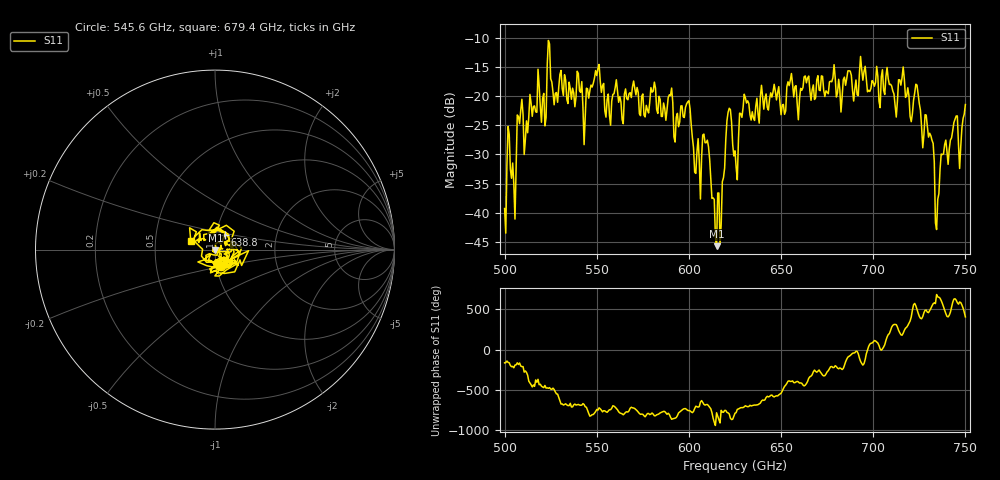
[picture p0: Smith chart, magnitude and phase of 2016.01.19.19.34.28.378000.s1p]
!Created with skrf (http://scikit-rf.org).
# GHz S RI R 50.0
!freq ReS11 ImS11
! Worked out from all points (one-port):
!   401 points, 500 GHz to 750 GHz, reference 50 ohm
!   lowest |S11| = -45.8 dB at 615 GHz (marker M1), VSWR 1.01, Z = 50.2 - j0.463 ohm
!   |S11| at or under -10 dB: start of sweep to end of sweep
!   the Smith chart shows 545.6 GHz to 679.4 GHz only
!   S11 on the Smith chart (normalised r, x): 545.6 GHz: 1.05, -0.19; 638.8 GHz: 1.10, +0.18; 679.4 GHz: 0.76, +0.08
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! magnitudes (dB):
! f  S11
! 500 GHz  -39.3
! 502.5 GHz  -26.5
! 505 GHz  -35.1
! 508.1 GHz  -24.7
! 521.2 GHz  -19.5
! 524.4 GHz  -11.0
! 531.2 GHz  -18.7
! 545.6 GHz  -20.3
! 562.5 GHz  -20.1
! 580.6 GHz  -19.2
! 593.8 GHz  -23.0
! 599.4 GHz  -21.0
! 605 GHz  -27.3
! 609.4 GHz  -28.0
! 615 GHz  -45.8
! 618.1 GHz  -34.7
! 621.9 GHz  -22.1
! 625 GHz  -29.4
! 630.6 GHz  -20.3
! 638.8 GHz  -20.1
! 656.2 GHz  -18.0
! 679.4 GHz  -16.8
! 687.5 GHz  -15.7
! 718.8 GHz  -18.6
! 729.4 GHz  -25.3
! 735 GHz  -37.7
! 738.1 GHz  -29.9
! 750 GHz  -21.4
